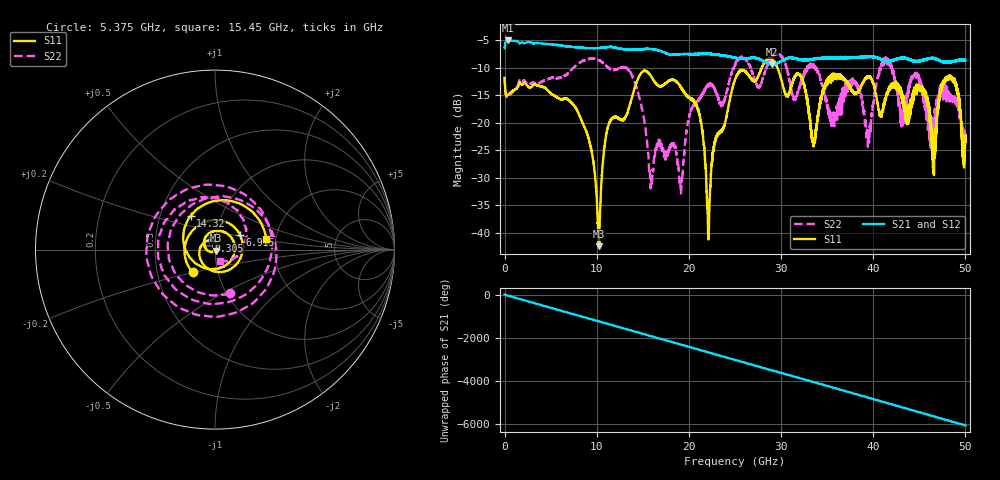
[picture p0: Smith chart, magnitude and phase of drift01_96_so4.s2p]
!Created with skrf (http://scikit-rf.org).
# Hz S RI R 50.0
!freq ReS11 ImS11 ReS21 ImS21 ReS12 ImS12 ReS22 ImS22
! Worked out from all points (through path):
!   10001 points, 300 kHz to 50 GHz, reference 50 ohm
!   highest |S21| = -5.05 dB at 325.3 MHz (marker M1); lowest = -9.4 dB at 29.04 GHz (marker M2)
!   group delay of S21, straight-line fit = 336 ps
!   lowest |S11| = -42.4 dB at 10.23 GHz (marker M3), VSWR 1.02, Z = 50.5 - j0.593 ohm
!   |S11| at or under -10 dB: start of sweep to 27.91 GHz; 29.6 GHz to end of sweep
!   |S22| runs from -32.8 to -7.5 dB; largest |S21 - S12| = 0.015
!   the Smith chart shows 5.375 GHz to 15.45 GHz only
!   S11 on the Smith chart (normalised r, x): 5.375 GHz: 0.76, -0.20; 6.915 GHz: 1.30, +0.22; 9.305 GHz: 0.93, +0.10; 14.32 GHz: 0.71, +0.28; 15.45 GHz: 1.78, +0.23
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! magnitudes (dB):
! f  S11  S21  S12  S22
! 300 kHz  -11.8  -6.4  -6.5  -11.7
! 325.3 MHz  -15.0  -5.1  -5.1  -15.3
! 5.375 GHz  -15.0  -5.9  -5.9  -11.8
! 6.915 GHz  -15.8  -6.1  -6.2  -11.0
! 8.335 GHz  -19.6  -6.4  -6.4  -8.9
! 9.305 GHz  -24.1  -6.4  -6.4  -8.4
! 10.23 GHz  -42.4  -6.4  -6.4  -8.6
! 11.24 GHz  -20.6  -6.2  -6.2  -9.9
! 14.32 GHz  -12.7  -6.7  -6.7  -13.7
! 15.45 GHz  -10.7  -6.6  -6.6  -23.2
! 16.67 GHz  -13.3  -6.9  -6.9  -23.3
! 19.13 GHz  -13.5  -7.6  -7.5  -32.8
! 20.84 GHz  -16.9  -7.5  -7.5  -16.2
! 22.13 GHz  -40.3  -7.5  -7.5  -13.3
! 25 GHz  -12.1  -8.2  -8.2  -9.5
! 29.04 GHz  -8.6  -9.4  -9.4  -8.1
! 33.34 GHz  -22.6  -8.5  -8.4  -9.5
! 39.47 GHz  -11.6  -8.0  -8.1  -22.5
! 41.67 GHz  -13.8  -8.8  -8.8  -9.1
! 46.56 GHz  -26.5  -8.3  -8.2  -21.6
! 48.55 GHz  -11.7  -8.9  -8.9  -15.4
! 50 GHz  -22.7  -8.7  -8.6  -22.9
